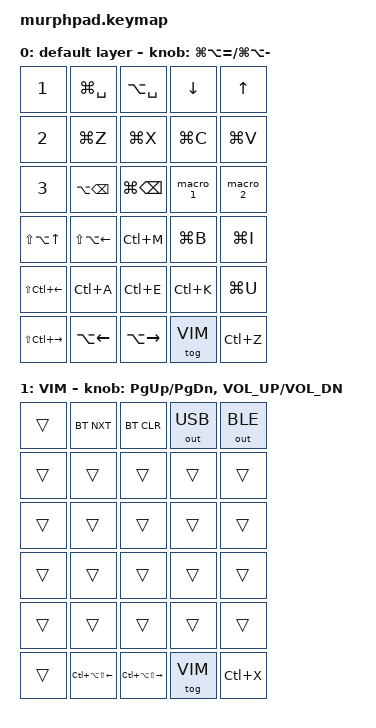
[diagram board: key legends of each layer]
#include <behaviors.dtsi>
#include <dt-bindings/zmk/keys.h>
#include <dt-bindings/zmk/bt.h>
#include <dt-bindings/zmk/rgb.h>
#include <dt-bindings/zmk/outputs.h>


#define TIMEOUT 300
#define DEFAULT 0
#define VIM    1


&encoder_1 {
    status = "okay";
};


&encoder_2 {
    status = "okay";
};


/ {

        behaviors {                            
                macro_1: PARE {
                        compatible = "zmk,behavior-macro";
                        label = "Parenthesis";
                        wait-ms = <0>;
                        #binding-cells = <0>;
                        bindings = <&macro_tap &kp LPAR &kp RPAR &kp LEFT>;                           
                };        
                macro_2: macro_2 {
                        compatible = "zmk,behavior-macro";
                        label = "Quotes";
                        wait-ms = <0>;
                        #binding-cells = <0>;
                        bindings = <&macro_tap &kp DQT &kp DQT &kp LEFT>;                           
                };           
        };
};

/ {
    combos {
        compatible = "zmk,combos";
        combo_btclr {
            timeout-ms = <TIMEOUT>;
            key-positions = <1 6>;
            bindings = <&bt BT_CLR>;
        };
        combo_reset {
            timeout-ms = <TIMEOUT>;
            key-positions = <1 3>;
            bindings = <&reset>;
        };
        combo_bootloader {
            timeout-ms = <TIMEOUT>;
            key-positions = <1 2>;
            bindings = <&bootloader>;
        };
        combo_bt_nxt {
            timeout-ms = <TIMEOUT>;
            key-positions = <1 4>;
            bindings = <&bt BT_NXT>;
        };
    };
    
    sensors {
        compatible = "zmk,keymap-sensors";
        sensors = <&encoder_1 &encoder_2>;
    };


    keymap0: keymap {
        compatible = "zmk,keymap";

        default_layer {
            label = "default layer";
            bindings = <
                &kp N1                      &kp LG(SPACE)             &kp LA(SPACE)           &kp DOWN           &kp UP   
                &kp N2                      &kp LG(Z)                 &kp LG(X)               &kp LG(C)          &kp LG(V)    
                &kp N3                      &kp LA(BSPC)              &kp LG(BSPC)            &macro_1           &macro_2   
                &kp LS(LA(UP))              &kp LS(LA(LEFT))          &kp LC(M)               &kp LG(B)          &kp LG(I)
                &kp LS(LC(LEFT))            &kp LC(A)                 &kp LC(E)               &kp LC(K)          &kp LG(U)
                &kp LS(LC(RIGHT))           &kp LA(LEFT)              &kp LA(RIGHT)           &tog VIM           &kp LC(Z)
            >;
            sensor-bindings = <&inc_dec_kp LG(LA(EQUAL)) LG(LA(MINUS))>;

        }; 
        
        vim_layer {
            label = "VIM";
            bindings = <
                &trans                  &bt BT_NXT               &bt BT_CLR                    &out OUT_USB      &out OUT_BLE
                &trans                  &trans                   &trans                        &trans            &trans     
                &trans                  &trans                   &trans                        &trans            &trans
                &trans                  &trans                   &trans                        &trans            &trans    
                &trans                  &trans                   &trans                        &trans            &trans
                &trans                  &kp LC(LA(LS(LEFT)))     &kp LC(LA(LS(RIGHT)))         &tog VIM         &kp LC(X)           
            >;  
            sensor-bindings = <&inc_dec_kp PG_UP PG_DN &inc_dec_kp C_VOL_UP C_VOL_DN>;
                
        };
    };
};
